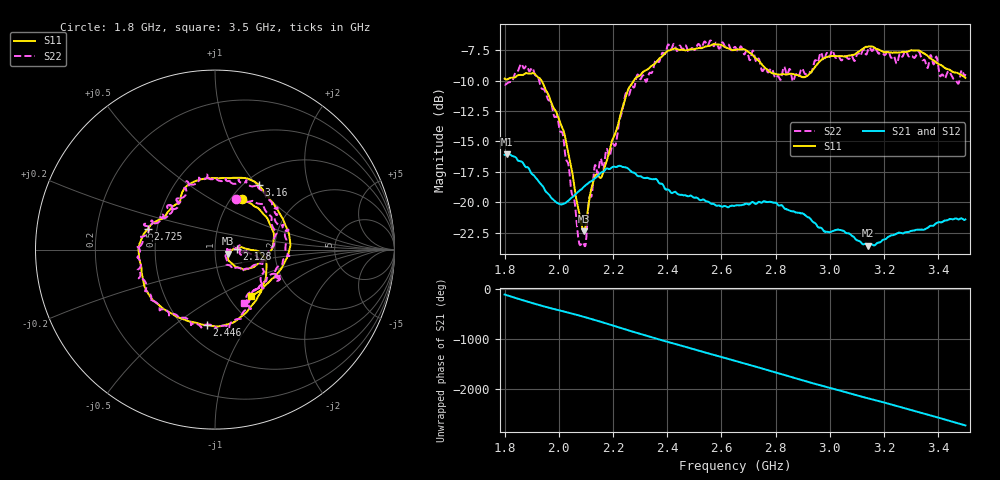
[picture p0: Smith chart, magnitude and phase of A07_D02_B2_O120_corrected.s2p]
! Created with skrf 1.9.0 (http://scikit-rf.org).
# Hz S RI R 50.0
!freq ReS11 ImS11 ReS21 ImS21 ReS12 ImS12 ReS22 ImS22
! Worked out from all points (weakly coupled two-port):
!   1601 points, 1.8 GHz to 3.5 GHz, reference 50 ohm
!   highest |S21| = -16.06 dB at 1.808 GHz (marker M1); lowest = -23.6 dB at 3.142 GHz (marker M2)
!   lowest |S11| = -22.4 dB at 2.093 GHz (marker M3), VSWR 1.16, Z = 57.8 - j2.58 ohm
!   |S11| at or under -10 dB: 1.936 GHz to 2.276 GHz (340 MHz wide, 16.1 % of centre)
!   |S22| runs from -23.6 to -6.7 dB; largest |S21 - S12| = 0.0026
!   S11 on the Smith chart (normalised r, x): 1.8 GHz: 1.12, +0.71; 2.128 GHz: 1.28, +0.01; 2.446 GHz: 0.65, -0.66; 2.725 GHz: 0.45, +0.12; 3.16 GHz: 1.16, +1.03; 3.5 GHz: 1.26, -0.73
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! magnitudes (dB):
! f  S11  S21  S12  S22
! 1.8 GHz  -9.8  -16.1  -16.1  -10.3
! 1.808 GHz  -9.9  -16.1  -16.1  -10.2
! 1.901 GHz  -9.4  -17.7  -17.6  -8.9
! 1.968 GHz  -11.5  -19.5  -19.5  -11.7
! 2.014 GHz  -13.9  -20.2  -20.2  -14.3
! 2.084 GHz  -21.8  -18.9  -18.9  -23.4
! 2.093 GHz  -22.4  -18.7  -18.8  -23.4
! 2.128 GHz  -18.2  -18.1  -18.1  -17.8
! 2.16 GHz  -17.8  -17.5  -17.5  -17.0
! 2.208 GHz  -14.3  -17.1  -17.1  -15.3
! 2.26 GHz  -10.5  -17.3  -17.3  -11.1
! 2.367 GHz  -8.3  -18.3  -18.3  -8.5
! 2.446 GHz  -7.5  -19.4  -19.4  -7.1
! 2.65 GHz  -7.5  -20.3  -20.2  -7.2
! 2.725 GHz  -8.1  -20.1  -20.1  -8.3
! 2.812 GHz  -9.5  -20.3  -20.1  -9.7
! 2.934 GHz  -9.2  -21.5  -21.5  -9.2
! 3.142 GHz  -7.2  -23.6  -23.4  -7.4
! 3.16 GHz  -7.2  -23.5  -23.5  -7.5
! 3.217 GHz  -7.7  -22.8  -22.8  -7.6
! 3.329 GHz  -7.5  -22.3  -22.2  -7.6
! 3.5 GHz  -9.8  -21.4  -21.4  -9.5
